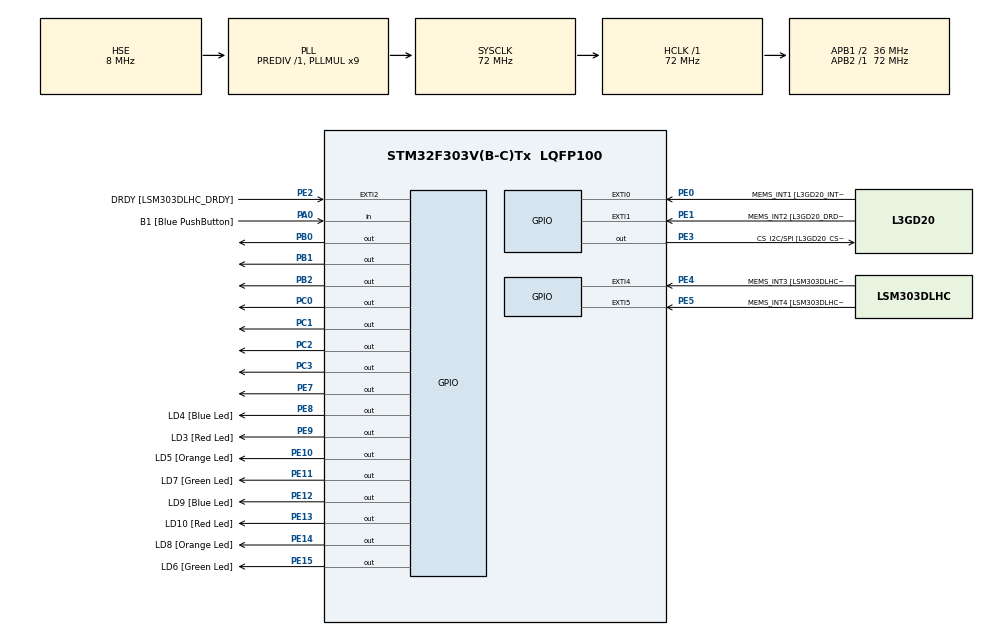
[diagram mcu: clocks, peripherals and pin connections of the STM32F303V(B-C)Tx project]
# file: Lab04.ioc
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Mcu.Family=STM32F3
Mcu.Name=STM32F303V(B-C)Tx
Mcu.Package=LQFP100
NVIC.PriorityGroup=NVIC_PRIORITYGROUP_0
PA0.GPIO_Label=B1 [Blue PushButton]
PA0.GPIO_Mode=GPIO_MODE_INPUT
PA0.GPIO_PuPd=GPIO_NOPULL
PA0.Signal=GPIO_Input
PA11.GPIO_Label=DM
PA11.Signal=USB_DM
PA12.GPIO_Label=DP
PA12.Signal=USB_DP
PA13.GPIO_Label=SWDIO
PA13.Signal=SYS_JTMS-SWDIO
PA14.GPIO_Label=SWCLK
PA14.Signal=SYS_JTCK-SWCLK
PA5.GPIO_Label=SPI1_SCK [L3GD20_SCL/SPC]
PA5.GPIO_Mode=GPIO_MODE_AF_PP
PA5.GPIO_PuPd=GPIO_NOPULL
PA5.GPIO_Speed=GPIO_SPEED_FREQ_LOW
PA5.Signal=SPI1_SCK
PA6.GPIO_Label=SPI1_MISO [L3GD20_SA0/SDO]
PA6.GPIO_Mode=GPIO_MODE_AF_PP
PA6.GPIO_PuPd=GPIO_NOPULL
PA6.GPIO_Speed=GPIO_SPEED_FREQ_LOW
PA6.Signal=SPI1_MISO
PA7.GPIO_Label=SPI1_MISO [L3GD20_SDA/SDI/SDO]
PA7.GPIO_Mode=GPIO_MODE_AF_PP
PA7.GPIO_PuPd=GPIO_NOPULL
PA7.GPIO_Speed=GPIO_SPEED_FREQ_LOW
PA7.Signal=SPI1_MOSI
PB0.Signal=GPIO_Output
PB1.Signal=GPIO_Output
PB2.Signal=GPIO_Output
PB3.GPIO_Label=SWO
PB3.Signal=SYS_JTDO-TRACESWO
PB6.GPIO_FM6=__NULL
PB6.GPIO_Label=I2C1_SCL [LSM303DLHC_SCL]
PB6.GPIO_Mode=GPIO_MODE_AF_OD
PB6.GPIO_PuPd=GPIO_NOPULL
PB6.GPIO_Speed=GPIO_SPEED_FREQ_LOW
PB6.Signal=I2C1_SCL
PB7.GPIO_FM7=__NULL
PB7.GPIO_Label=I2C1_SDA [LSM303DLHC_SDA]
PB7.GPIO_Mode=GPIO_MODE_AF_OD
PB7.GPIO_PuPd=GPIO_NOPULL
PB7.GPIO_Speed=GPIO_SPEED_FREQ_LOW
PB7.Signal=I2C1_SDA
PC0.Signal=GPIO_Output
PC1.Signal=GPIO_Output
PC14-OSC32_IN.GPIO_Label=OSC32_IN
PC14-OSC32_IN.Signal=RCC_OSC32_IN
PC15-OSC32_OUT.GPIO_Label=OSC32_OUT
PC15-OSC32_OUT.Signal=RCC_OSC32_OUT
PC2.Signal=GPIO_Output
PC3.Signal=GPIO_Output
PE0.GPIO_Label=MEMS_INT1 [L3GD20_INT1]
PE0.GPIO_ModeDefaultEXTI=GPIO_MODE_EVT_RISING
PE0.GPIO_PuPd=GPIO_NOPULL
PE0.Signal=GPXTI0
PE1.GPIO_Label=MEMS_INT2 [L3GD20_DRDY/INT2]
PE1.GPIO_ModeDefaultEXTI=GPIO_MODE_EVT_RISING
PE1.GPIO_PuPd=GPIO_NOPULL
PE1.Signal=GPXTI1
PE10.GPIO_Label=LD5 [Orange Led]
PE10.GPIO_ModeDefaultOutputPP=GPIO_MODE_OUTPUT_PP
PE10.GPIO_PuPd=GPIO_NOPULL
PE10.GPIO_Speed=GPIO_SPEED_FREQ_LOW
PE10.Signal=GPIO_Output
PE11.GPIO_Label=LD7 [Green Led]
PE11.GPIO_ModeDefaultOutputPP=GPIO_MODE_OUTPUT_PP
PE11.GPIO_PuPd=GPIO_NOPULL
PE11.GPIO_Speed=GPIO_SPEED_FREQ_LOW
PE11.Signal=GPIO_Output
PE12.GPIO_Label=LD9 [Blue Led]
PE12.GPIO_ModeDefaultOutputPP=GPIO_MODE_OUTPUT_PP
PE12.GPIO_PuPd=GPIO_NOPULL
PE12.GPIO_Speed=GPIO_SPEED_FREQ_LOW
PE12.Signal=GPIO_Output
PE13.GPIO_Label=LD10 [Red Led]
PE13.GPIO_ModeDefaultOutputPP=GPIO_MODE_OUTPUT_PP
PE13.GPIO_PuPd=GPIO_NOPULL
PE13.GPIO_Speed=GPIO_SPEED_FREQ_LOW
PE13.Signal=GPIO_Output
PE14.GPIO_Label=LD8 [Orange Led]
PE14.GPIO_ModeDefaultOutputPP=GPIO_MODE_OUTPUT_PP
PE14.GPIO_PuPd=GPIO_NOPULL
PE14.GPIO_Speed=GPIO_SPEED_FREQ_LOW
PE14.Signal=GPIO_Output
PE15.GPIO_Label=LD6 [Green Led]
PE15.GPIO_ModeDefaultOutputPP=GPIO_MODE_OUTPUT_PP
PE15.GPIO_PuPd=GPIO_NOPULL
PE15.GPIO_Speed=GPIO_SPEED_FREQ_LOW
PE15.Signal=GPIO_Output
PE2.GPIO_Label=DRDY [LSM303DLHC_DRDY]
PE2.GPIO_ModeDefaultEXTI=GPIO_MODE_EVT_RISING
PE2.GPIO_PuPd=GPIO_NOPULL
PE2.Signal=GPXTI2
PE3.GPIO_Label=CS_I2C/SPI [L3GD20_CS_I2C/SPI]
PE3.GPIO_ModeDefaultOutputPP=GPIO_MODE_OUTPUT_PP
PE3.GPIO_PuPd=GPIO_NOPULL
PE3.GPIO_Speed=GPIO_SPEED_FREQ_LOW
PE3.Signal=GPIO_Output
PE4.GPIO_Label=MEMS_INT3 [LSM303DLHC_INT1]
PE4.GPIO_ModeDefaultEXTI=GPIO_MODE_EVT_RISING
PE4.GPIO_PuPd=GPIO_NOPULL
PE4.Signal=GPXTI4
PE5.GPIO_Label=MEMS_INT4 [LSM303DLHC_INT2]
PE5.GPIO_ModeDefaultEXTI=GPIO_MODE_EVT_RISING
PE5.GPIO_PuPd=GPIO_NOPULL
PE5.Signal=GPXTI5
PE7.Signal=GPIO_Output
PE8.GPIO_Label=LD4 [Blue Led]
PE8.GPIO_ModeDefaultOutputPP=GPIO_MODE_OUTPUT_PP
PE8.GPIO_PuPd=GPIO_NOPULL
PE8.GPIO_Speed=GPIO_SPEED_FREQ_LOW
PE8.Signal=GPIO_Output
PE9.GPIO_Label=LD3 [Red Led]
PE9.GPIO_ModeDefaultOutputPP=GPIO_MODE_OUTPUT_PP
PE9.GPIO_PuPd=GPIO_NOPULL
PE9.GPIO_Speed=GPIO_SPEED_FREQ_LOW
PE9.Signal=GPIO_Output
PF0-OSC_IN.GPIO_Label=OSC_IN
PF0-OSC_IN.Mode=HSE-External-Clock-Source
PF0-OSC_IN.Signal=RCC_OSC_IN
PF1-OSC_OUT.GPIO_Label=OSC_OUT
PF1-OSC_OUT.Signal=RCC_OSC_OUT
ProjectManager.HeapSize=0x200
ProjectManager.StackSize=0x400
ProjectManager.TargetToolchain=MDK-ARM V5
RCC.AHBFreq_Value=72000000
RCC.APB1CLKDivider=RCC_HCLK_DIV2
RCC.APB1Freq_Value=36000000
RCC.APB1TimFreq_Value=72000000
RCC.APB2Freq_Value=72000000
RCC.APB2TimFreq_Value=72000000
RCC.CortexFreq_Value=72000000
RCC.HCLKFreq_Value=72000000
RCC.HSE_VALUE=8000000
RCC.HSI_VALUE=8000000
RCC.LSE_VALUE=32768
RCC.PLLMUL=RCC_PLL_MUL9
RCC.PLLSourceVirtual=RCC_PLLSOURCE_HSE
RCC.SYSCLKFreq_VALUE=72000000
RCC.SYSCLKSourceVirtual=RCC_SYSCLKSOURCE_PLLCLK
RCC.USBFreq_Value=72000000
board=STM32F3DISCOVERY

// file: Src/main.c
/* USER CODE BEGIN Header */
/**
  ******************************************************************************
  * @file           : main.c
  * @brief          : Main program body
  ******************************************************************************
  * @attention
  *
  * <h2><center>&copy; Copyright (c) 2019 STMicroelectronics.
  * All rights reserved.</center></h2>
  *
  * This software component is licensed by ST under BSD 3-Clause license,
  * the "License"; You may not use this file except in compliance with the
  * License. You may obtain a copy of the License at:
  *                        opensource.org/licenses/BSD-3-Clause
  *
  ******************************************************************************
  */
/* USER CODE END Header */

#include "main.h"

/* USER CODE BEGIN PD */
#define LCD_CONTROL_PORT	GPIOB
#define RS	GPIO_PIN_0
#define RW	GPIO_PIN_1
#define E		GPIO_PIN_2

#define LCD_DATA_PORT	GPIOC
#define DB4	GPIO_PIN_0
#define DB5	GPIO_PIN_1
#define DB6	GPIO_PIN_2
#define DB7	GPIO_PIN_3

#define LCD_BLK_PORT	GPIOE
#define	BLK GPIO_PIN_7
/* USER CODE END PD */

void SystemClock_Config(void);
static void MX_GPIO_Init(void);
/* USER CODE BEGIN PFP */
static void LcdWriteNibble(uint8_t data);
static void LcdWriteCmd(uint8_t cmd);
static void LcdWriteData(uint8_t data);
/* USER CODE END PFP */

int main(void)
{

  /* MCU Configuration--------------------------------------------------------*/

  /* Reset of all peripherals, Initializes the Flash interface and the Systick. */
  HAL_Init();

  /* Configure the system clock */
  SystemClock_Config();

  /* Initialize all configured peripherals */
  MX_GPIO_Init();
  /* USER CODE BEGIN 2 */

	/* RS = 0 */
	HAL_GPIO_WritePin(LCD_CONTROL_PORT, RS ,GPIO_PIN_RESET);
	/* RW = 0 */
	HAL_GPIO_WritePin(LCD_CONTROL_PORT, RW ,GPIO_PIN_RESET);
	/* E = 0 */
	HAL_GPIO_WritePin(LCD_CONTROL_PORT, E ,GPIO_PIN_RESET);
	/* BLK = 1 */
	HAL_GPIO_WritePin(LCD_BLK_PORT, BLK ,GPIO_PIN_SET);
	/* Start-Up Delay */
	HAL_Delay(15);

	LcdWriteNibble(0x30);
	HAL_Delay(5);
	LcdWriteNibble(0x30);
	HAL_Delay(1);
	LcdWriteNibble(0x30);
	HAL_Delay(1);
	LcdWriteNibble(0x20);
	HAL_Delay(1);

	LcdWriteCmd(0x28);
	HAL_Delay(1);
	LcdWriteCmd(0x0F);
	HAL_Delay(1);
	LcdWriteCmd(0x01);
	HAL_Delay(2);
	LcdWriteCmd(0x06);
	HAL_Delay(1);

	LcdWriteCmd(0x80);
	HAL_Delay(1);
	LcdWriteData('C');
	HAL_Delay(1);
	LcdWriteData('h');
	HAL_Delay(1);
	LcdWriteData('a');
	HAL_Delay(1);
	LcdWriteData('i');
	HAL_Delay(1);
	LcdWriteData('w');
	HAL_Delay(1);
	LcdWriteData('i');
	HAL_Delay(1);
	LcdWriteData('t');
	HAL_Delay(1);

	LcdWriteCmd(0xc0);
	HAL_Delay(1);
	LcdWriteData('5');
	HAL_Delay(1);
	LcdWriteData('9');
	HAL_Delay(1);
	LcdWriteData('1');
	HAL_Delay(1);
	LcdWriteData('1');
	HAL_Delay(1);
	LcdWriteData('1');
	HAL_Delay(1);
	LcdWriteData('1');
	HAL_Delay(1);
	LcdWriteData('0');
	HAL_Delay(1);
	LcdWriteData('2');
	HAL_Delay(1);
	LcdWriteData('2');
	HAL_Delay(1);
	LcdWriteData('2');
	HAL_Delay(1);
  /* USER CODE END 2 */

  /* Infinite loop */
  while (1)
  {

		HAL_GPIO_TogglePin(GPIOE, GPIO_PIN_8);
		HAL_Delay(200);
  }
}

void SystemClock_Config(void)
{
  RCC_OscInitTypeDef RCC_OscInitStruct = {0};
  RCC_ClkInitTypeDef RCC_ClkInitStruct = {0};

  /** Initializes the CPU, AHB and APB busses clocks
  */
  RCC_OscInitStruct.OscillatorType = RCC_OSCILLATORTYPE_HSE;
  RCC_OscInitStruct.HSEState = RCC_HSE_BYPASS;
  RCC_OscInitStruct.HSEPredivValue = RCC_HSE_PREDIV_DIV1;
  RCC_OscInitStruct.HSIState = RCC_HSI_ON;
  RCC_OscInitStruct.PLL.PLLState = RCC_PLL_ON;
  RCC_OscInitStruct.PLL.PLLSource = RCC_PLLSOURCE_HSE;
  RCC_OscInitStruct.PLL.PLLMUL = RCC_PLL_MUL9;
  if (HAL_RCC_OscConfig(&RCC_OscInitStruct) != HAL_OK)
  {
    Error_Handler();
  }
  /** Initializes the CPU, AHB and APB busses clocks
  */
  RCC_ClkInitStruct.ClockType = RCC_CLOCKTYPE_HCLK|RCC_CLOCKTYPE_SYSCLK
                              |RCC_CLOCKTYPE_PCLK1|RCC_CLOCKTYPE_PCLK2;
  RCC_ClkInitStruct.SYSCLKSource = RCC_SYSCLKSOURCE_PLLCLK;
  RCC_ClkInitStruct.AHBCLKDivider = RCC_SYSCLK_DIV1;
  RCC_ClkInitStruct.APB1CLKDivider = RCC_HCLK_DIV2;
  RCC_ClkInitStruct.APB2CLKDivider = RCC_HCLK_DIV1;

  if (HAL_RCC_ClockConfig(&RCC_ClkInitStruct, FLASH_LATENCY_2) != HAL_OK)
  {
    Error_Handler();
  }
}

static void MX_GPIO_Init(void)
{
  GPIO_InitTypeDef GPIO_InitStruct = {0};

  /* GPIO Ports Clock Enable */
  __HAL_RCC_GPIOE_CLK_ENABLE();
  __HAL_RCC_GPIOC_CLK_ENABLE();
  __HAL_RCC_GPIOF_CLK_ENABLE();
  __HAL_RCC_GPIOA_CLK_ENABLE();
  __HAL_RCC_GPIOB_CLK_ENABLE();

  /*Configure GPIO pin Output Level */
  HAL_GPIO_WritePin(GPIOE, CS_I2C_SPI_Pin|GPIO_PIN_7|LD4_Pin|LD3_Pin
                          |LD5_Pin|LD7_Pin|LD9_Pin|LD10_Pin
                          |LD8_Pin|LD6_Pin, GPIO_PIN_RESET);

  /*Configure GPIO pin Output Level */
  HAL_GPIO_WritePin(GPIOC, GPIO_PIN_0|GPIO_PIN_1|GPIO_PIN_2|GPIO_PIN_3, GPIO_PIN_RESET);

  /*Configure GPIO pin Output Level */
  HAL_GPIO_WritePin(GPIOB, GPIO_PIN_0|GPIO_PIN_1|GPIO_PIN_2, GPIO_PIN_RESET);

  /*Configure GPIO pins : DRDY_Pin MEMS_INT3_Pin MEMS_INT4_Pin MEMS_INT1_Pin
                           MEMS_INT2_Pin */
  GPIO_InitStruct.Pin = DRDY_Pin|MEMS_INT3_Pin|MEMS_INT4_Pin|MEMS_INT1_Pin
                          |MEMS_INT2_Pin;
  GPIO_InitStruct.Mode = GPIO_MODE_EVT_RISING;
  GPIO_InitStruct.Pull = GPIO_NOPULL;
  HAL_GPIO_Init(GPIOE, &GPIO_InitStruct);

  /*Configure GPIO pins : CS_I2C_SPI_Pin PE7 LD4_Pin LD3_Pin
                           LD5_Pin LD7_Pin LD9_Pin LD10_Pin
                           LD8_Pin LD6_Pin */
  GPIO_InitStruct.Pin = CS_I2C_SPI_Pin|GPIO_PIN_7|LD4_Pin|LD3_Pin
                          |LD5_Pin|LD7_Pin|LD9_Pin|LD10_Pin
                          |LD8_Pin|LD6_Pin;
  GPIO_InitStruct.Mode = GPIO_MODE_OUTPUT_PP;
  GPIO_InitStruct.Pull = GPIO_NOPULL;
  GPIO_InitStruct.Speed = GPIO_SPEED_FREQ_LOW;
  HAL_GPIO_Init(GPIOE, &GPIO_InitStruct);

  /*Configure GPIO pins : PC0 PC1 PC2 PC3 */
  GPIO_InitStruct.Pin = GPIO_PIN_0|GPIO_PIN_1|GPIO_PIN_2|GPIO_PIN_3;
  GPIO_InitStruct.Mode = GPIO_MODE_OUTPUT_PP;
  GPIO_InitStruct.Pull = GPIO_NOPULL;
  GPIO_InitStruct.Speed = GPIO_SPEED_FREQ_LOW;
  HAL_GPIO_Init(GPIOC, &GPIO_InitStruct);

  /*Configure GPIO pin : B1_Pin */
  GPIO_InitStruct.Pin = B1_Pin;
  GPIO_InitStruct.Mode = GPIO_MODE_INPUT;
  GPIO_InitStruct.Pull = GPIO_NOPULL;
  HAL_GPIO_Init(B1_GPIO_Port, &GPIO_InitStruct);

  /*Configure GPIO pins : SPI1_SCK_Pin SPI1_MISO_Pin SPI1_MISOA7_Pin */
  GPIO_InitStruct.Pin = SPI1_SCK_Pin|SPI1_MISO_Pin|SPI1_MISOA7_Pin;
  GPIO_InitStruct.Mode = GPIO_MODE_AF_PP;
  GPIO_InitStruct.Pull = GPIO_NOPULL;
  GPIO_InitStruct.Speed = GPIO_SPEED_FREQ_LOW;
  GPIO_InitStruct.Alternate = GPIO_AF5_SPI1;
  HAL_GPIO_Init(GPIOA, &GPIO_InitStruct);

  /*Configure GPIO pins : PB0 PB1 PB2 */
  GPIO_InitStruct.Pin = GPIO_PIN_0|GPIO_PIN_1|GPIO_PIN_2;
  GPIO_InitStruct.Mode = GPIO_MODE_OUTPUT_PP;
  GPIO_InitStruct.Pull = GPIO_NOPULL;
  GPIO_InitStruct.Speed = GPIO_SPEED_FREQ_LOW;
  HAL_GPIO_Init(GPIOB, &GPIO_InitStruct);

  /*Configure GPIO pins : DM_Pin DP_Pin */
  GPIO_InitStruct.Pin = DM_Pin|DP_Pin;
  GPIO_InitStruct.Mode = GPIO_MODE_AF_PP;
  GPIO_InitStruct.Pull = GPIO_NOPULL;
  GPIO_InitStruct.Speed = GPIO_SPEED_FREQ_HIGH;
  GPIO_InitStruct.Alternate = GPIO_AF14_USB;
  HAL_GPIO_Init(GPIOA, &GPIO_InitStruct);

  /*Configure GPIO pins : I2C1_SCL_Pin I2C1_SDA_Pin */
  GPIO_InitStruct.Pin = I2C1_SCL_Pin|I2C1_SDA_Pin;
  GPIO_InitStruct.Mode = GPIO_MODE_AF_OD;
  GPIO_InitStruct.Pull = GPIO_PULLUP;
  GPIO_InitStruct.Speed = GPIO_SPEED_FREQ_LOW;
  GPIO_InitStruct.Alternate = GPIO_AF4_I2C1;
  HAL_GPIO_Init(GPIOB, &GPIO_InitStruct);

}

/* USER CODE BEGIN 4 */
static void LcdWriteNibble(uint8_t data){
	HAL_GPIO_WritePin(LCD_DATA_PORT, DB7, data & 0x80);
	HAL_GPIO_WritePin(LCD_DATA_PORT, DB6, data & 0x40);
	HAL_GPIO_WritePin(LCD_DATA_PORT, DB5, data & 0x20);
	HAL_GPIO_WritePin(LCD_DATA_PORT, DB4, data & 0x10);

	HAL_GPIO_WritePin(LCD_CONTROL_PORT, E, GPIO_PIN_SET);
	HAL_GPIO_WritePin(LCD_CONTROL_PORT, E, GPIO_PIN_RESET);
}

static void LcdWriteCmd(uint8_t cmd){
	HAL_GPIO_WritePin(LCD_CONTROL_PORT, RS ,GPIO_PIN_RESET);
	LcdWriteNibble(cmd & 0xF0);
	LcdWriteNibble(cmd << 4);
}

static void LcdWriteData(uint8_t data){
	HAL_GPIO_WritePin(LCD_CONTROL_PORT, RS ,GPIO_PIN_SET);
	LcdWriteNibble(data & 0xF0);
	LcdWriteNibble(data << 4);
}
/* USER CODE END 4 */

void Error_Handler(void)
{
}

/************************ (C) COPYRIGHT STMicroelectronics *****END OF FILE****/
